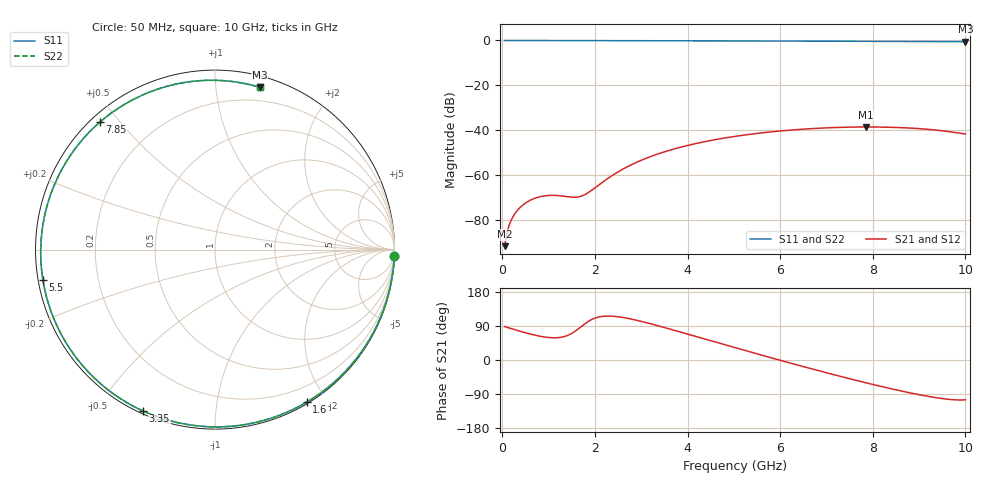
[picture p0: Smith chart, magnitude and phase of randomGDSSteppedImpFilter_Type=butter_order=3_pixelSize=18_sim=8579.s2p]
! freq	dB(S11)	phase(S11)	dB(S12)	phase(S12)
!  dB(S21)	phase(S21)	dB(S22)	phase(S22)
!S-par simulation data
#  GHz  S  DB  R 50
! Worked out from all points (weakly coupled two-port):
!   200 points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, 50 MHz to 10 GHz, reference 50 ohm
!   highest |S21| = -38.57 dB at 7.85 GHz (marker M1); lowest = -91.7 dB at 50 MHz (marker M2)
!   lowest |S11| = -0.6 dB at 10 GHz (marker M3), VSWR 31.43, Z = 4.32 + j65.4 ohm
!   |S11| at or under -10 dB: nowhere
!   |S22| runs from -0.6 to 0.0 dB; largest |S21 - S12| = 0
!   S11 on the Smith chart (normalised r, x): 50 MHz: 0, -59; 1.6 GHz: 0.02, -1.77; 3.35 GHz: 0.01, -0.65; 5.5 GHz: 0.01, -0.09; 7.85 GHz: 0.03, +0.44; 10 GHz: 0.09, +1.31
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0.05  -0.00 -1.9  -91.70 88.1  -91.70 88.1  -0.00 -1.9
0.2  -0.01 -7.7  -79.78 82.5  -79.78 82.5  -0.01 -7.7
0.3  -0.02 -11.5  -76.42 78.9  -76.42 78.9  -0.02 -11.5
0.4  -0.02 -15.2  -74.14 75.3  -74.14 75.3  -0.02 -15.2
0.55  -0.03 -20.9  -71.84 70.2  -71.84 70.2  -0.03 -20.9
0.75  -0.04 -28.4  -70.02 64.3  -70.02 64.3  -0.04 -28.4
1.05  -0.05 -39.4  -69.05 58.9  -69.05 58.9  -0.05 -39.4
1.6  -0.07 -59.0  -69.86 78.4  -69.86 78.4  -0.07 -59.0
1.75  -0.08 -64.1  -69.04 92.7  -69.04 92.7  -0.08 -64.1
2.15  -0.09 -77.5  -63.40 114.9  -63.40 114.9  -0.09 -77.5
2.6  -0.11 -91.8  -57.40 112.3  -57.40 112.3  -0.11 -91.7
3.35  -0.13 -114.0  -50.67 90.8  -50.67 90.8  -0.13 -114.0
3.4  -0.14 -115.4  -50.33 89.1  -50.33 89.1  -0.14 -115.4
4.25  -0.17 -138.5  -45.63 59.6  -45.63 59.6  -0.17 -138.5
5.05  -0.21 -158.9  -42.69 31.6  -42.69 31.6  -0.21 -158.9
5.5  -0.23 -170.0  -41.45 16.1  -41.45 16.1  -0.23 -170.1
6.1  -0.27 175.3  -40.17 -4.2  -40.17 -4.2  -0.27 175.3
6.7  -0.30 160.7  -39.27 -24.0  -39.27 -24.0  -0.30 160.6
7.85  -0.38 132.2  -38.57 -60.1  -38.57 -60.1  -0.38 132.0
8.35  -0.42 119.3  -38.69 -74.6  -38.69 -74.6  -0.42 119.1
9.2  -0.49 96.7  -39.63 -96.1  -39.63 -96.1  -0.49 96.4
10  -0.55 74.7  -41.71 -105.1  -41.71 -105.1  -0.55 74.4
